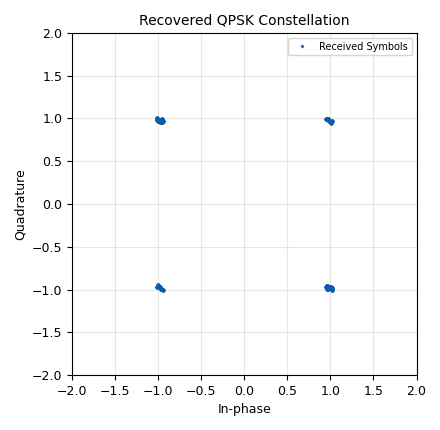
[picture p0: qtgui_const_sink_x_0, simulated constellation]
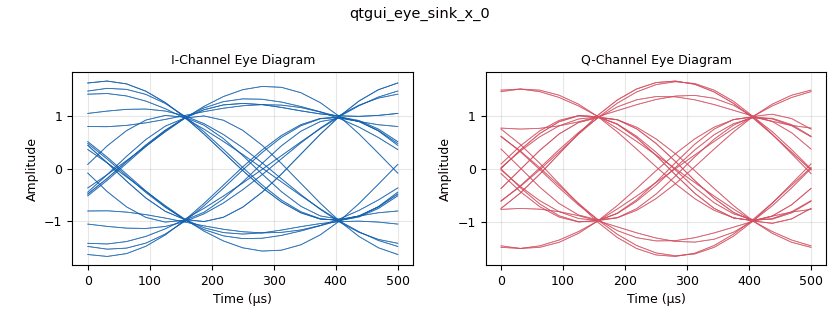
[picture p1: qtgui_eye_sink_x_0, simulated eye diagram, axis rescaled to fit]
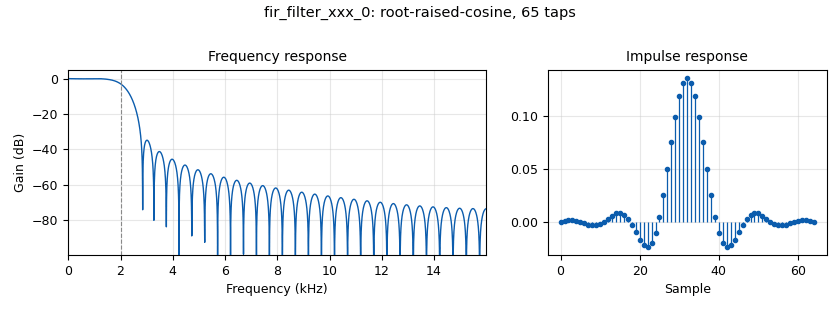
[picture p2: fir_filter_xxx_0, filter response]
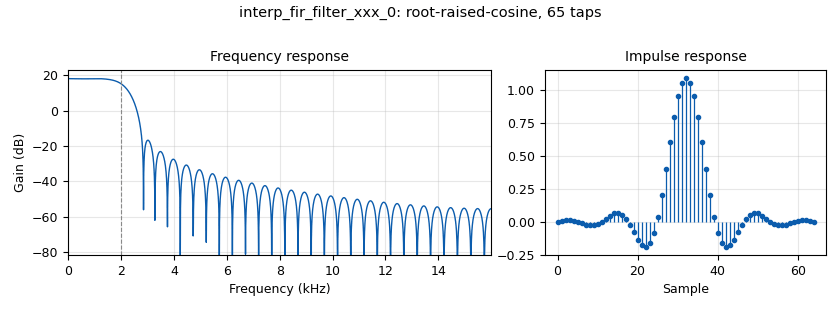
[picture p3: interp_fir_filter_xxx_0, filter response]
options:
  parameters:
    generate_options: qt_gui
    id: exp5
    output_language: python
    title: Diagnosing Single-Carrier Receiver Failures
  states: {}

blocks:
- name: alpha
  id: variable
  parameters:
    value: '0.35'
  states: {}
- name: loop_bw
  id: variable
  parameters:
    value: math.pi/100
  states: {}
- name: ntaps
  id: variable
  parameters:
    value: span * sps + 1
  states: {}
- name: qpsk
  id: variable_constellation_rect
  parameters:
    const_points: '[1+1j, -1+1j, -1-1j, 1-1j]'
    imag_sect: '2'
    real_sect: '2'
    rot_sym: '4'
    sym_map: '[0, 1, 2, 3]'
    w_imag_sect: '1'
    w_real_sect: '1'
  states: {}
- name: samp_rate
  id: variable
  parameters:
    value: '32000'
  states: {}
- name: samp_rate_0
  id: variable
  parameters:
    value: '32000'
  states: {}
- name: span
  id: variable
  parameters:
    value: '8'
  states: {}
- name: sps
  id: variable
  parameters:
    value: int(samp_rate / symbol_rate)
  states: {}
- name: symbol_rate
  id: variable
  parameters:
    value: '4000'
  states: {}
- name: blocks_repack_bits_bb_0
  id: blocks_repack_bits_bb
  parameters:
    endianness: gr.GR_LSB_FIRST
    k: '1'
    l: '2'
  states: {}
- name: blocks_repack_bits_bb_1
  id: blocks_repack_bits_bb
  parameters:
    endianness: gr.GR_LSB_FIRST
    k: '2'
    l: '1'
  states: {}
- name: blocks_tag_debug_0
  id: blocks_tag_debug
  parameters:
    comment: Frame Detection Verification
    display: 'False'
    filter: frame_start
    name: Frame Detection Verification
    type: byte
  states: {}
- name: blocks_throttle2_0
  id: blocks_throttle2
  parameters:
    samples_per_second: samp_rate
    type: complex
  states: {}
- name: blocks_vector_source_x_0
  id: blocks_vector_source_x
  parameters:
    repeat: 'True'
    type: byte
    vector: '[1,1,0,1,0,0,1,1,1,0,0,1,0,1,1,0,0,1,0,1,0,0,1,1,0,1,0,0,0,1,0,0,0,1,0,1,0,0,1,0]'
  states: {}
- name: channels_channel_model_0
  id: channels_channel_model
  parameters:
    comment: CFO and Sample-Rate Mismatch
    epsilon: '1.'
    freq_offset: '0'
    noise_voltage: '0'
    seed: '0'
    taps: '[1.0 + 0.0j]'
  states: {}
- name: digital_chunks_to_symbols_xx_0
  id: digital_chunks_to_symbols_xx
  parameters:
    dimension: '1'
    in_type: byte
    out_type: complex
    symbol_table: '[1+1j, -1+1j, -1-1j, 1-1j]'
  states: {}
- name: digital_constellation_decoder_cb_0
  id: digital_constellation_decoder_cb
  parameters:
    comment: QPSK Symbol Decisions
    constellation: qpsk
  states: {}
- name: digital_correlate_access_code_tag_xx_0
  id: digital_correlate_access_code_tag_xx
  parameters:
    access_code: '1101001110010110'
    comment: Frame Detection
    tagname: frame_start
    threshold: '0'
    type: byte
  states: {}
- name: digital_costas_loop_cc_0
  id: digital_costas_loop_cc
  parameters:
    comment: Carrier Recovery
    order: '4'
    w: loop_bw
  states: {}
- name: digital_diff_decoder_bb_0
  id: digital_diff_decoder_bb
  parameters:
    coding: digital.DIFF_DIFFERENTIAL
    modulus: '4'
  states: {}
- name: digital_diff_encoder_bb_0
  id: digital_diff_encoder_bb
  parameters:
    coding: digital.DIFF_DIFFERENTIAL
    modulus: '4'
  states: {}
- name: digital_symbol_sync_xx_0
  id: digital_symbol_sync_xx
  parameters:
    comment: Timing Recovery
    damping: '1.0'
    loop_bw: '0.045'
    max_dev: '1.5'
    osps: '1'
    resamp_type: digital.IR_MMSE_8TAP
    sps: sps
    ted_gain: '1.0'
    ted_type: digital.TED_GARDNER
    type: cc
  states: {}
- name: epy_block_0
  id: epy_block
  parameters:
    _source_code: |-
      import numpy as np
      from gnuradio import gr
      import pmt


      class blk(gr.sync_block):
          """Recover 24-bit payload after frame_start tag."""

          def __init__(self):
              gr.sync_block.__init__(
                  self,
                  name="Payload Decoder",
                  in_sig=[np.uint8],
                  out_sig=None
              )

              self.payload_length = 24
              self.collecting = False
              self.bits = []

              # Print only the first five recovered payloads.
              self.print_count = 0
              self.max_prints = 5

          def work(self, input_items, output_items):
              data = input_items[0]

              # Find frame_start tags in the current input window.
              tags = self.get_tags_in_window(
                  0,
                  0,
                  len(data),
                  pmt.intern("frame_start")
              )

              # Convert absolute tag offsets to positions
              # inside the current work() buffer.
              tag_positions = {
                  int(tag.offset - self.nitems_read(0))
                  for tag in tags
              }

              for i, sample in enumerate(data):

                  # A frame_start tag marks the beginning
                  # of a new 24-bit payload.
                  if i in tag_positions:
                      self.collecting = True
                      self.bits = []

                  # Collect payload bits.
                  if self.collecting:
                      self.bits.append(int(sample) & 1)

                      # Once 24 payload bits have been collected,
                      # convert them into three ASCII characters.
                      if len(self.bits) == self.payload_length:
                          payload_bits = self.bits[:]

                          chars = []

                          for k in range(0, 24, 8):
                              byte_bits = payload_bits[k:k + 8]

                              bit_string = ''.join(
                                  str(bit) for bit in byte_bits
                              )

                              value = int(bit_string, 2)
                              chars.append(chr(value))

                          message = ''.join(chars)

                          # Print only the first five recovered payloads.
                          if self.print_count < self.max_prints:
                              print(
                                  "Recovered payload bits:",
                                  ''.join(str(b) for b in payload_bits)
                              )
                              print(
                                  "Recovered payload:",
                                  message
                              )

                              self.print_count += 1

                          self.collecting = False
                          self.bits = []

              return len(data)
    comment: Payload Recovery
  states: {}
- name: fir_filter_xxx_0
  id: fir_filter_xxx
  parameters:
    comment: Matched Filtering
    decim: '1'
    taps: firdes.root_raised_cosine(1, samp_rate, symbol_rate, alpha, ntaps)
    type: ccf
  states: {}
- name: import_0
  id: import
  parameters:
    imports: import math
  states: {}
- name: interp_fir_filter_xxx_0
  id: interp_fir_filter_xxx
  parameters:
    comment: Pulse Shaping
    interp: sps
    taps: firdes.root_raised_cosine(sps, samp_rate, symbol_rate, alpha, ntaps)
    type: ccf
  states: {}
- name: qtgui_const_sink_x_0
  id: qtgui_const_sink_x
  parameters:
    comment: After Timing and Carrier Recovery
    grid: 'True'
    label1: Received Symbols
    name: Recovered QPSK Constellation
    size: '1024'
    type: complex
  states: {}
- name: qtgui_eye_sink_x_0
  id: qtgui_eye_sink_x
  parameters:
    comment: Before Synchronization
    grid: 'True'
    label1: I-Channel Eye Diagram
    label2: Q-Channel Eye Diagram
    samp_per_symbol: sps
    size: '1024'
    srate: samp_rate
    type: complex
  states: {}

connections:
- [blocks_repack_bits_bb_0, '0', digital_diff_encoder_bb_0, '0']
- [blocks_repack_bits_bb_1, '0', digital_correlate_access_code_tag_xx_0, '0']
- [blocks_throttle2_0, '0', channels_channel_model_0, '0']
- [blocks_vector_source_x_0, '0', blocks_repack_bits_bb_0, '0']
- [channels_channel_model_0, '0', fir_filter_xxx_0, '0']
- [digital_chunks_to_symbols_xx_0, '0', interp_fir_filter_xxx_0, '0']
- [digital_constellation_decoder_cb_0, '0', digital_diff_decoder_bb_0, '0']
- [digital_correlate_access_code_tag_xx_0, '0', blocks_tag_debug_0, '0']
- [digital_correlate_access_code_tag_xx_0, '0', epy_block_0, '0']
- [digital_costas_loop_cc_0, '0', digital_constellation_decoder_cb_0, '0']
- [digital_costas_loop_cc_0, '0', qtgui_const_sink_x_0, '0']
- [digital_diff_decoder_bb_0, '0', blocks_repack_bits_bb_1, '0']
- [digital_diff_encoder_bb_0, '0', digital_chunks_to_symbols_xx_0, '0']
- [digital_symbol_sync_xx_0, '0', digital_costas_loop_cc_0, '0']
- [fir_filter_xxx_0, '0', digital_symbol_sync_xx_0, '0']
- [fir_filter_xxx_0, '0', qtgui_eye_sink_x_0, '0']
- [interp_fir_filter_xxx_0, '0', blocks_throttle2_0, '0']

metadata:
  file_format: 1
  grc_version: 3.10.12.0
